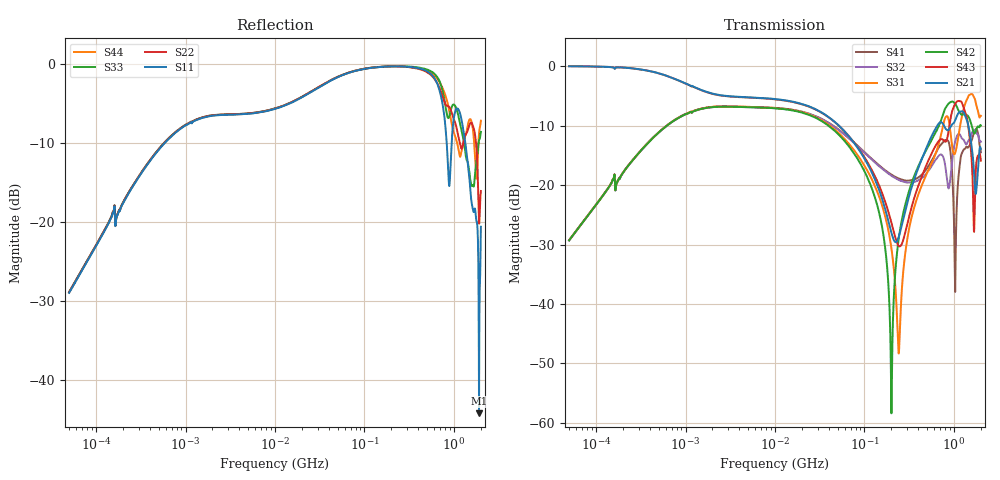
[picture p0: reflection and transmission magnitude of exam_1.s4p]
#  HZ  S  RI  R  50.00
! Rohde & Schwarz Vector Network Analyzer
! Rohde-Schwarz,ZNB8-4Port,1311601044102771,3.45
! Created: UTC 10/24/2024, 3:18:50 PM
!The following Port Impedance Renormalization has been used when saving the data.
!PortZ  Port1:50+j0  Port2:50+j0  Port3:50+j0  Port4:50+j0
! freq[Hz]  re:S11  im:S11  re:S12  im:S12  re:S13  im:S13  re:S14  im:S14
!  re:S21  im:S21  re:S22  im:S22  re:S23  im:S23  re:S24  im:S24
!  re:S31  im:S31  re:S32  im:S32  re:S33  im:S33  re:S34  im:S34
!  re:S41  im:S41  re:S42  im:S42  re:S43  im:S43  re:S44  im:S44
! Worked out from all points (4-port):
!   4001 points, 50 kHz to 2 GHz, reference 50 ohm
!   strongest paths, dB at 50 kHz, 707.1 kHz, 10 MHz, 141.4 MHz, 2 GHz:
!     S21: 0.0, -2.0, -5.5, -20.3, -13.9
!     S43: 0.0, -2.0, -5.6, -19.6, -15.9
!     S42: -29.3, -9.4, -7.1, -23.8, -10.0
!     S31: -29.3, -9.3, -7.0, -21.4, -8.3
!     S32: -29.3, -9.4, -7.1, -16.7, -12.7
!     S41: -29.3, -9.3, -7.0, -16.5, -14.5
!   lowest |S11| = -44.2 dB at 1.907 GHz (marker M1), VSWR 1.01, Z = 50 + j0.619 ohm
!   |S11| at or under -10 dB: start of sweep to 587.4 kHz; 829.9 MHz to 941.7 MHz (111.8 MHz wide, 12.6 % of centre); 1.34 GHz to end of sweep
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50000  0.00465 0.0354  0.996 -0.0354  0.00265 0.0341  -0.00274 -0.0345
       0.9959 -0.035  0.0047 0.0357  -0.00267 -0.0341  0.00275 0.0345
       0.00263 0.0343  -0.00262 -0.0341  0.00338 0.0358  0.9975 -0.0356
       -0.00263 -0.0343  0.00264 0.0342  0.9983 -0.0355  0.00348 0.0358
2.050169e7  0.5837 0.2028  0.4153 -0.23  0.3613 -0.1845  -0.3614 0.1963
            0.4186 -0.2308  0.5882 0.201  -0.36 0.1952  0.3611 -0.1856
            0.3645 -0.1849  -0.3605 0.195  0.5874 0.2032  0.4163 -0.2318
            -0.3633 0.1957  0.3604 -0.1838  0.4151 -0.2307  0.5873 0.2031
1.187356e8  0.9409 -0.0314  0.0464 -0.1206  0.0143 -0.1124  -0.00243 0.1658
            0.047 -0.1223  0.9421 -0.0516  -0.0023 0.1652  0.0128 -0.0963
            0.0143 -0.1139  -0.00205 0.1653  0.9421 -0.0191  0.0468 -0.1288
            -0.00213 0.1678  0.013 -0.0963  0.0469 -0.1289  0.9423 -0.0426
1.995639e8  0.9337 -0.2295  0.0289 -0.0263  -0.00662 -0.0286  0.0338 0.1161
            0.0292 -0.0273  0.9262 -0.2603  0.034 0.1152  0.00108 -0.000724
            -0.00687 -0.029  0.0343 0.1149  0.9404 -0.2077  0.0253 -0.041
            0.0349 0.1174  0.0011 -0.000713  0.0253 -0.0415  0.9305 -0.2457
2.415011e8  0.9088 -0.3162  0.0358 0.00726  -0.00362 0.000875  0.0419 0.1037
            0.0361 0.00649  0.8943 -0.3523  0.0421 0.1024  0.0107 0.0337
            -0.00373 0.000904  0.0423 0.102  0.9201 -0.2891  0.0288 -0.0105
            0.0433 0.105  0.0107 0.0338  0.0287 -0.0112  0.9018 -0.3351
1.906868e9  2.7e-05 0.00619  0.1266 -0.1073  -0.2043 -0.3259  -0.1798 -0.1254
            0.1426 -0.1092  0.0492 -0.0853  -0.2222 -0.1435  -0.1841 -0.2388
            -0.2007 -0.3228  -0.2052 -0.1363  0.2402 0.2238  -0.0834 -0.147
            -0.2017 -0.1246  -0.1837 -0.2446  -0.0774 -0.1603  0.3549 -0.0615
2e9  0.0875 0.0326  0.0358 -0.1841  -0.2341 -0.3081  -0.1654 -0.0404
     0.0405 -0.1971  0.1496 -0.0479  -0.2404 -0.0729  -0.2375 -0.1977
     -0.2266 -0.3082  -0.2209 -0.068  0.3432 0.141  -0.1151 -0.09
     -0.1854 -0.034  -0.2427 -0.2032  -0.1207 -0.1055  0.4101 -0.1482
